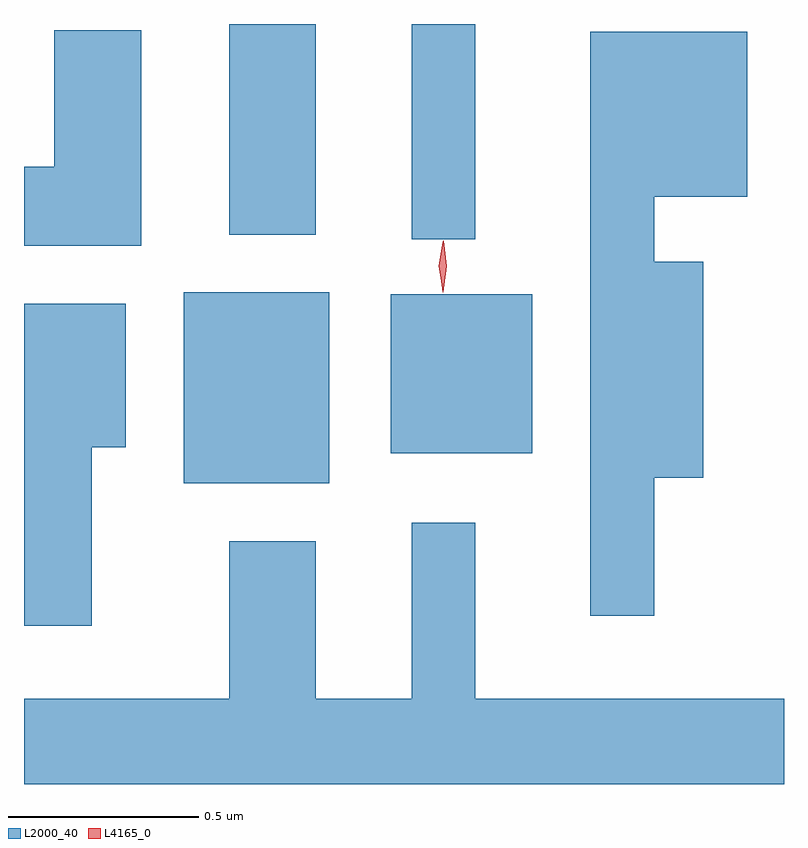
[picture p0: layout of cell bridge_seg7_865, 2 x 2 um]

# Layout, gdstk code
import gdstk
lib = gdstk.Library(unit=1e-6, precision=1e-09)
def R(c, l, rs):  # rectangles x0, y0, x1, y1
    for r in rs: c.add(gdstk.rectangle(r[:2], r[2:], *l))
def P(c, l, *ps):  # polygons
    for p in ps: c.add(gdstk.Polygon(p, *l))
L2000_40 = (2000, 40)
L4165_0 = (4165, 0)

bridge_seg7_865 = lib.new_cell('bridge_seg7_865')
R(bridge_seg7_865, L2000_40, [(220.671,1761.771,221.054,1762.274), (221.216,1761.851,221.589,1762.269), (221.271,1762.413,221.439,1762.98), (220.791,1762.426,221.019,1762.98)])
P(bridge_seg7_865, L2000_40, [(220.559,1762.964),(220.331,1762.964),(220.331,1762.604),(220.251,1762.604),(220.251,1762.396),(220.559,1762.396)],
  [(221.909,1761.786),(222.039,1761.786),(222.039,1762.354),(221.909,1762.354),(221.909,1762.526),(222.154,1762.526),(222.154,1762.959),(221.741,1762.959),(221.741,1761.423),(221.909,1761.423)],
  [(220.429,1761.866),(220.519,1761.866),(220.519,1762.244),(220.251,1762.244),(220.251,1761.396),(220.429,1761.396)],
  [(222.251,1761.204),(221.439,1761.204),(221.439,1761.668),(221.271,1761.668),(221.271,1761.204),(221.019,1761.204),(221.019,1761.619),(220.791,1761.619),(220.791,1761.204),(220.251,1761.204),(220.251,1760.98),(222.251,1760.98)])
P(bridge_seg7_865, L4165_0, [(221.353,1762.274),(221.344,1762.342),(221.354,1762.41),(221.355,1762.41),(221.355,1762.41),(221.364,1762.342),(221.354,1762.274),(221.354,1762.274)],
  [(221.353,1762.278),(221.353,1762.279),(221.343,1762.343),(221.353,1762.407),(221.353,1762.407),(221.354,1762.407),(221.364,1762.343),(221.354,1762.279)])

lib.write_gds('bridge_seg7_865.gds')
